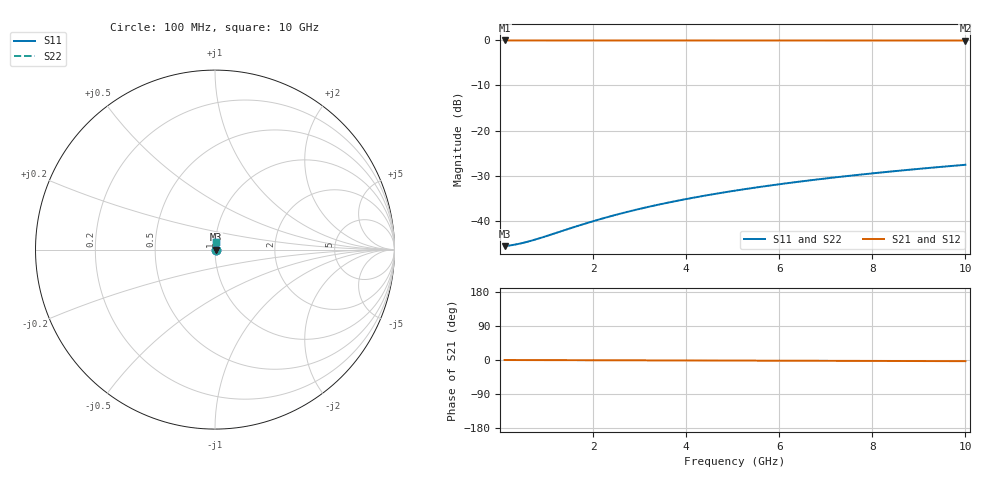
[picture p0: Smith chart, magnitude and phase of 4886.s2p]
# Hz S RI R 50.00
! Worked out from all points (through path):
!   100 points, 100 MHz to 10 GHz, reference 50 ohm
!   highest |S21| = -0.05 dB at 100 MHz (marker M1); lowest = -0.1 dB at 10 GHz (marker M2)
!   lowest |S11| = -45.6 dB at 100 MHz (marker M3), VSWR 1.01, Z = 50.5 + j0.0415 ohm
!   |S11| at or under -10 dB: start of sweep to end of sweep
!   |S22| runs from -45.6 to -27.6 dB; largest |S21 - S12| = 0
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1e8  0.00524 0.000411  0.9948 -0.00053  0.9948 -0.00053  0.00524 0.000411
3e8  0.0053 0.00123  0.9947 -0.00159  0.9947 -0.00159  0.0053 0.00123
4e8  0.00532 0.00164  0.9947 -0.00212  0.9947 -0.00212  0.00532 0.00164
5e8  0.00534 0.00205  0.9947 -0.00265  0.9947 -0.00265  0.00534 0.00205
7e8  0.00537 0.00287  0.9946 -0.00371  0.9946 -0.00371  0.00537 0.00287
1e9  0.00542 0.00411  0.9946 -0.0053  0.9946 -0.0053  0.00542 0.00411
1.5e9  0.00549 0.00616  0.9945 -0.00794  0.9945 -0.00794  0.00549 0.00616
1.8e9  0.00553 0.00739  0.9945 -0.00953  0.9945 -0.00953  0.00553 0.00739
2.2e9  0.00559 0.00903  0.9944 -0.0117  0.9944 -0.0117  0.00559 0.00903
2.6e9  0.00565 0.0107  0.9943 -0.0138  0.9943 -0.0138  0.00565 0.0107
3e9  0.00572 0.0123  0.9943 -0.0159  0.9943 -0.0159  0.00572 0.0123
3.4e9  0.0058 0.014  0.9942 -0.018  0.9942 -0.018  0.0058 0.014
3.8e9  0.00587 0.0156  0.9941 -0.0201  0.9941 -0.0201  0.00587 0.0156
4.2e9  0.00596 0.0172  0.994 -0.0222  0.994 -0.0222  0.00596 0.0172
4.6e9  0.00605 0.0189  0.9939 -0.0244  0.9939 -0.0244  0.00605 0.0189
5.1e9  0.00617 0.0209  0.9938 -0.027  0.9938 -0.027  0.00617 0.0209
5.9e9  0.00639 0.0242  0.9936 -0.0312  0.9936 -0.0312  0.00639 0.0242
6.7e9  0.00664 0.0275  0.9933 -0.0355  0.9933 -0.0355  0.00664 0.0275
7.5e9  0.00691 0.0308  0.993 -0.0397  0.993 -0.0397  0.00691 0.0308
8.4e9  0.00725 0.0345  0.9927 -0.0445  0.9927 -0.0445  0.00725 0.0345
9.2e9  0.00758 0.0378  0.9923 -0.0487  0.9923 -0.0487  0.00758 0.0378
1e10  0.00794 0.041  0.992 -0.053  0.992 -0.053  0.00794 0.041
